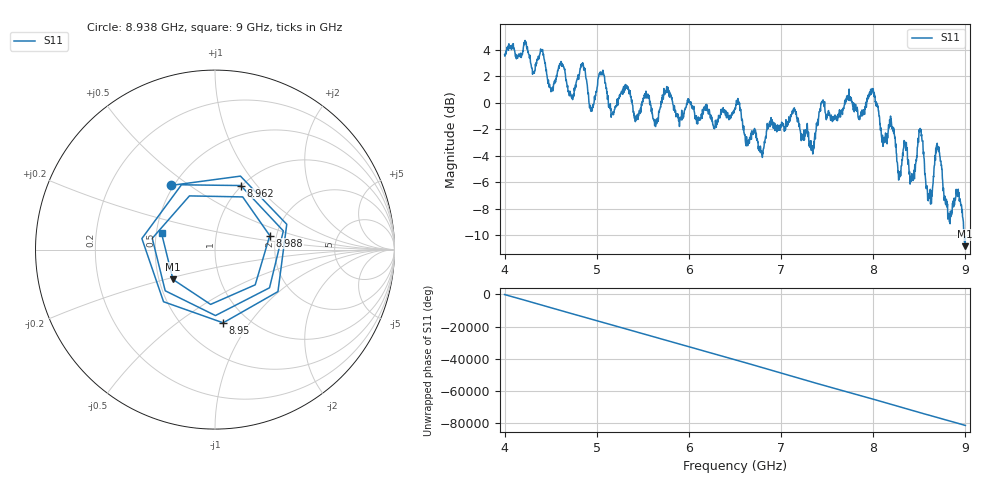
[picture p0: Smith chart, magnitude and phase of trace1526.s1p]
! Created with skrf 1.8.0 (http://scikit-rf.org).
# Hz S RI R 50.0
!freq ReS11 ImS11
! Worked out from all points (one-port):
!   1601 points, 4 GHz to 9 GHz, reference 50 ohm
!   lowest |S11| = -10.8 dB at 8.997 GHz (marker M1), VSWR 1.81, Z = 29.6 - j10.7 ohm
!   |S11| at or under -10 dB: 8.987696 GHz to end of sweep
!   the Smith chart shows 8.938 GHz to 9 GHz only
!   S11 on the Smith chart (normalised r, x): 8.938 GHz: 0.48, +0.42; 8.95 GHz: 0.77, -0.76; 8.962 GHz: 0.99, +0.83; 8.988 GHz: 1.84, +0.32; 9 GHz: 0.53, +0.11
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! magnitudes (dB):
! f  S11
! 4 GHz  3.6
! 4.625 GHz  2.9
! 4.728 GHz  0.4
! 4.853 GHz  2.9
! 4.941 GHz  -0.5
! 5.05 GHz  2.2
! 5.25 GHz  0.4
! 5.875 GHz  -0.8
! 6.5 GHz  -0.4
! 6.784 GHz  -3.8
! 7.125 GHz  -0.8
! 7.334 GHz  -3.4
! 7.447 GHz  0.1
! 7.75 GHz  0.4
! 7.994 GHz  0.9
! 8.281 GHz  -5.6
! 8.375 GHz  -4.3
! 8.425 GHz  -5.5
! 8.512 GHz  -2.1
! 8.612 GHz  -7.2
! 8.697 GHz  -3.3
! 8.822 GHz  -8.4
! 8.938 GHz  -7.2
! 8.95 GHz  -7.7
! 8.962 GHz  -8.3
! 8.988 GHz  -10.0
! 8.997 GHz  -10.8
! 9 GHz  -10.1
